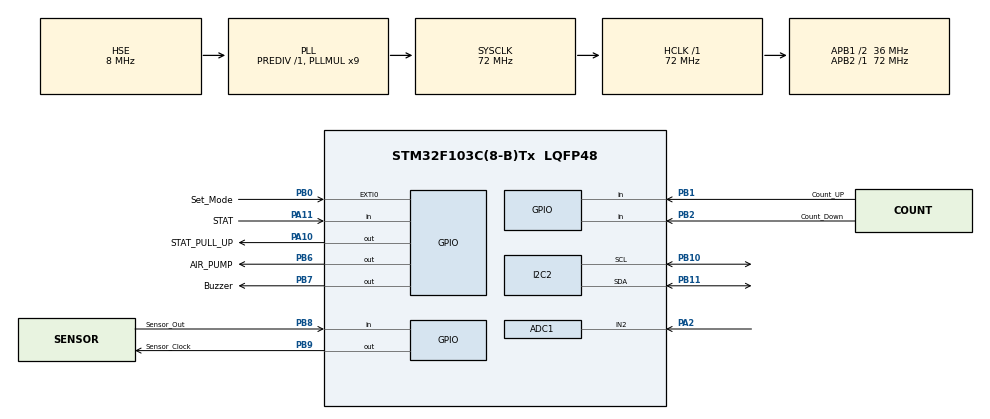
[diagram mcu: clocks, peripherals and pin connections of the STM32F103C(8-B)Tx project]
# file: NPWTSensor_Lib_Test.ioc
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ADC1.Channel-6\#ChannelRegularConversion=ADC_CHANNEL_2
ADC1.NbrOfConversionFlag=1
ADC1.Rank-6\#ChannelRegularConversion=1
ADC1.SamplingTime-6\#ChannelRegularConversion=ADC_SAMPLETIME_1CYCLE_5
ADC1.master=1
FREERTOS.BinarySemaphores01=I2CSemaphore,Dynamic,NULL
FREERTOS.Events01=Mode_Button_Event,Dynamic,NULL
FREERTOS.Queues01=DisplayQueue,1,uint32_t,0,Dynamic,NULL,NULL;mmhgQueue,1,uint32_t,0,Dynamic,NULL,NULL
FREERTOS.Tasks01=mmhgHandler,24,512,mmhgHandlerTask,Default,NULL,Dynamic,NULL,NULL;Display,25,256,DisplayTask,Default,NULL,Dynamic,NULL,NULL;ButtonHandler,24,256,ButtonsHandlerTask,Default,NULL,Dynamic,NULL,NULL;BMSHandler,24,512,BMSHandlerTask,Default,NULL,Dynamic,NULL,NULL
FREERTOS.configTOTAL_HEAP_SIZE=10000
Mcu.Family=STM32F1
Mcu.Name=STM32F103C(8-B)Tx
Mcu.Package=LQFP48
NVIC.EXTI0_IRQn=true\:5\:0\:false\:false\:true\:true\:true\:true\:true
NVIC.PriorityGroup=NVIC_PRIORITYGROUP_4
NVIC.TIM1_UP_IRQn=true\:15\:0\:false\:false\:true\:false\:false\:true\:true
NVIC.TimeBase=TIM1_UP_IRQn
NVIC.TimeBaseIP=TIM1
PA10.GPIO_Label=STAT_PULL_UP
PA10.Signal=GPIO_Output
PA11.GPIO_Label=STAT
PA11.Signal=GPIO_Input
PA13.Mode=Serial_Wire
PA13.Signal=SYS_JTMS-SWDIO
PA14.Mode=Serial_Wire
PA14.Signal=SYS_JTCK-SWCLK
PA2.Signal=ADCx_IN2
PB0.GPIO_Label=Set_Mode
PB0.Signal=GPXTI0
PB1.GPIO_Label=Count_UP
PB1.Signal=GPIO_Input
PB10.Mode=I2C
PB10.Signal=I2C2_SCL
PB11.Mode=I2C
PB11.Signal=I2C2_SDA
PB2.GPIO_Label=Count_Down
PB2.Signal=GPIO_Input
PB6.GPIO_Label=AIR_PUMP
PB6.Signal=GPIO_Output
PB7.GPIO_Label=Buzzer
PB7.Signal=GPIO_Output
PB8.GPIO_Label=Sensor_Out
PB8.Signal=GPIO_Input
PB9.GPIO_Label=Sensor_Clock
PB9.Signal=GPIO_Output
PD0-OSC_IN.Mode=HSE-External-Oscillator
PD0-OSC_IN.Signal=RCC_OSC_IN
PD1-OSC_OUT.Mode=HSE-External-Oscillator
PD1-OSC_OUT.Signal=RCC_OSC_OUT
ProjectManager.HeapSize=0x200
ProjectManager.StackSize=0x400
ProjectManager.TargetToolchain=MDK-ARM V5.32
RCC.ADCPresc=RCC_ADCPCLK2_DIV6
RCC.AHBFreq_Value=72000000
RCC.APB1CLKDivider=RCC_HCLK_DIV2
RCC.APB1Freq_Value=36000000
RCC.APB1TimFreq_Value=72000000
RCC.APB2Freq_Value=72000000
RCC.APB2TimFreq_Value=72000000
RCC.HCLKFreq_Value=72000000
RCC.PLLMUL=RCC_PLL_MUL9
RCC.PLLSourceVirtual=RCC_PLLSOURCE_HSE
RCC.SYSCLKFreq_VALUE=72000000
RCC.SYSCLKSource=RCC_SYSCLKSOURCE_PLLCLK
RCC.USBFreq_Value=72000000
SH.ADCx_IN2.0=ADC1_IN2,IN2
VP_FREERTOS_VS_CMSIS_V2.Mode=CMSIS_V2
VP_SYS_VS_tim1.Mode=TIM1
board=custom

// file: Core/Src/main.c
/* USER CODE BEGIN Header */
/**
  ******************************************************************************
  * @file           : main.c
  * @brief          : Main program body
  ******************************************************************************
  * @attention
  *
  * Copyright (c) 2023 STMicroelectronics.
  * All rights reserved.
  *
  * This software is licensed under terms that can be found in the LICENSE file
  * in the root directory of this software component.
  * If no LICENSE file comes with this software, it is provided AS-IS.
  *
  ******************************************************************************
  */
/* USER CODE END Header */
#include "main.h"
#include "cmsis_os.h"

/* USER CODE BEGIN Includes */

#include "bq2057csn.h"
#include "ina226.h"
#include "baterrymanagment.h"
#include "display.h"
#include "npwt_config.h"
#include "HX710B.h"

/* USER CODE END Includes */

ADC_HandleTypeDef hadc1;

I2C_HandleTypeDef hi2c2;

/* Definitions for mmhgHandler */
osThreadId_t mmhgHandlerHandle;
const osThreadAttr_t mmhgHandler_attributes = {
  .name = "mmhgHandler",
  .stack_size = 512 * 4,
  .priority = (osPriority_t) osPriorityNormal,
};
/* Definitions for Display */
osThreadId_t DisplayHandle;
const osThreadAttr_t Display_attributes = {
  .name = "Display",
  .stack_size = 256 * 4,
  .priority = (osPriority_t) osPriorityNormal1,
};
/* Definitions for ButtonHandler */
osThreadId_t ButtonHandlerHandle;
const osThreadAttr_t ButtonHandler_attributes = {
  .name = "ButtonHandler",
  .stack_size = 256 * 4,
  .priority = (osPriority_t) osPriorityNormal,
};
/* Definitions for BMSHandler */
osThreadId_t BMSHandlerHandle;
const osThreadAttr_t BMSHandler_attributes = {
  .name = "BMSHandler",
  .stack_size = 512 * 4,
  .priority = (osPriority_t) osPriorityNormal,
};
/* Definitions for DisplayQueue */
osMessageQueueId_t DisplayQueueHandle;
const osMessageQueueAttr_t DisplayQueue_attributes = {
  .name = "DisplayQueue"
};
/* Definitions for mmhgQueue */
osMessageQueueId_t mmhgQueueHandle;
const osMessageQueueAttr_t mmhgQueue_attributes = {
  .name = "mmhgQueue"
};
/* Definitions for I2CSemaphore */
osSemaphoreId_t I2CSemaphoreHandle;
const osSemaphoreAttr_t I2CSemaphore_attributes = {
  .name = "I2CSemaphore"
};
/* Definitions for Mode_Button_Event */
osEventFlagsId_t Mode_Button_EventHandle;
const osEventFlagsAttr_t Mode_Button_Event_attributes = {
  .name = "Mode_Button_Event"
};

void SystemClock_Config(void);
static void MX_GPIO_Init(void);
static void MX_ADC1_Init(void);
static void MX_I2C2_Init(void);
void mmhgHandlerTask(void *argument);
void DisplayTask(void *argument);
void ButtonsHandlerTask(void *argument);
void BMSHandlerTask(void *argument);

/* USER CODE BEGIN 0 */

battery_managment_t battery_managment ;
HX710B_config_t hx710b_config;

/* USER CODE END 0 */

int main(void)
{

  /* MCU Configuration--------------------------------------------------------*/

  /* Reset of all peripherals, Initializes the Flash interface and the Systick. */
  HAL_Init();

  /* Configure the system clock */
  SystemClock_Config();

  /* Initialize all configured peripherals */
  MX_GPIO_Init();
  MX_ADC1_Init();
  MX_I2C2_Init();
  /* USER CODE BEGIN 2 */

	__HAL_RCC_PWR_CLK_ENABLE();
	HAL_PWR_EnableWakeUpPin(Set_Mode_Pin);

	battery_managment.ina_config = (struct INA226_Configuration_Struct*)malloc(sizeof(*battery_managment.ina_config));
  battery_managment.bq2057csn_condition =(bq2057csn_config_t*) malloc(sizeof(*battery_managment.bq2057csn_condition));

	battery_managment.bq2057csn_condition->pullup_pin_port=STAT_PULL_UP_GPIO_Port;
	battery_managment.bq2057csn_condition->pullup_pin=STAT_PULL_UP_Pin;
	battery_managment.bq2057csn_condition->stat_pin_port=STAT_GPIO_Port;
	battery_managment.bq2057csn_condition->stat_pin=STAT_Pin;

	battery_managment.ina_config->I2C_Channel=hi2c2;
	battery_managment.ina_config->Slave_Addrs=0x40;
	battery_managment.ina_config->Mode=Mode_Bus_And_Shunt_Cont;
	battery_managment.ina_config->Vbus_Conv_Time=Conv_Vbus_1_1ms;
	battery_managment.ina_config->Vshunt_Conv_Time=Conv_Shunt_1_1ms;
	battery_managment.ina_config->Avarage_Num=Set_Avg_512;
	battery_managment.ina_config->Shunt_Resistor_Val=0.01;
	battery_managment.ina_config->Current_LSB=0.000045;

  /* USER CODE END 2 */

  /* Init scheduler */
  osKernelInitialize();

  /* Create the semaphores(s) */
  /* creation of I2CSemaphore */
  I2CSemaphoreHandle = osSemaphoreNew(1, 1, &I2CSemaphore_attributes);

  /* Create the queue(s) */
  /* creation of DisplayQueue */
  DisplayQueueHandle = osMessageQueueNew (1, sizeof(uint32_t), &DisplayQueue_attributes);

  /* creation of mmhgQueue */
  mmhgQueueHandle = osMessageQueueNew (1, sizeof(uint32_t), &mmhgQueue_attributes);

  /* Create the thread(s) */
  /* creation of mmhgHandler */
  mmhgHandlerHandle = osThreadNew(mmhgHandlerTask, NULL, &mmhgHandler_attributes);

  /* creation of Display */
  DisplayHandle = osThreadNew(DisplayTask, NULL, &Display_attributes);

  /* creation of ButtonHandler */
  ButtonHandlerHandle = osThreadNew(ButtonsHandlerTask, NULL, &ButtonHandler_attributes);

  /* creation of BMSHandler */
  BMSHandlerHandle = osThreadNew(BMSHandlerTask, NULL, &BMSHandler_attributes);

  /* Create the event(s) */
  /* creation of Mode_Button_Event */
  Mode_Button_EventHandle = osEventFlagsNew(&Mode_Button_Event_attributes);

  /* Start scheduler */
  osKernelStart();
  /* We should never get here as control is now taken by the scheduler */
  /* Infinite loop */
  /* USER CODE BEGIN WHILE */
  while (1)
  {
		/*  read_data=HX710B_Read_Sensor(&HX710B_config);
		  HAL_Delay(1000);
	    */

    /* USER CODE END WHILE */

  }
}

void SystemClock_Config(void)
{
  RCC_OscInitTypeDef RCC_OscInitStruct = {0};
  RCC_ClkInitTypeDef RCC_ClkInitStruct = {0};
  RCC_PeriphCLKInitTypeDef PeriphClkInit = {0};

  /** Initializes the RCC Oscillators according to the specified parameters
  * in the RCC_OscInitTypeDef structure.
  */
  RCC_OscInitStruct.OscillatorType = RCC_OSCILLATORTYPE_HSE;
  RCC_OscInitStruct.HSEState = RCC_HSE_ON;
  RCC_OscInitStruct.HSEPredivValue = RCC_HSE_PREDIV_DIV1;
  RCC_OscInitStruct.HSIState = RCC_HSI_ON;
  RCC_OscInitStruct.PLL.PLLState = RCC_PLL_ON;
  RCC_OscInitStruct.PLL.PLLSource = RCC_PLLSOURCE_HSE;
  RCC_OscInitStruct.PLL.PLLMUL = RCC_PLL_MUL9;
  if (HAL_RCC_OscConfig(&RCC_OscInitStruct) != HAL_OK)
  {
    Error_Handler();
  }

  /** Initializes the CPU, AHB and APB buses clocks
  */
  RCC_ClkInitStruct.ClockType = RCC_CLOCKTYPE_HCLK|RCC_CLOCKTYPE_SYSCLK
                              |RCC_CLOCKTYPE_PCLK1|RCC_CLOCKTYPE_PCLK2;
  RCC_ClkInitStruct.SYSCLKSource = RCC_SYSCLKSOURCE_PLLCLK;
  RCC_ClkInitStruct.AHBCLKDivider = RCC_SYSCLK_DIV1;
  RCC_ClkInitStruct.APB1CLKDivider = RCC_HCLK_DIV2;
  RCC_ClkInitStruct.APB2CLKDivider = RCC_HCLK_DIV1;

  if (HAL_RCC_ClockConfig(&RCC_ClkInitStruct, FLASH_LATENCY_2) != HAL_OK)
  {
    Error_Handler();
  }
  PeriphClkInit.PeriphClockSelection = RCC_PERIPHCLK_ADC;
  PeriphClkInit.AdcClockSelection = RCC_ADCPCLK2_DIV6;
  if (HAL_RCCEx_PeriphCLKConfig(&PeriphClkInit) != HAL_OK)
  {
    Error_Handler();
  }
}

static void MX_ADC1_Init(void)
{

  ADC_ChannelConfTypeDef sConfig = {0};

  /** Common config
  */
  hadc1.Instance = ADC1;
  hadc1.Init.ScanConvMode = ADC_SCAN_DISABLE;
  hadc1.Init.ContinuousConvMode = DISABLE;
  hadc1.Init.DiscontinuousConvMode = DISABLE;
  hadc1.Init.ExternalTrigConv = ADC_SOFTWARE_START;
  hadc1.Init.DataAlign = ADC_DATAALIGN_RIGHT;
  hadc1.Init.NbrOfConversion = 1;
  if (HAL_ADC_Init(&hadc1) != HAL_OK)
  {
    Error_Handler();
  }

  /** Configure Regular Channel
  */
  sConfig.Channel = ADC_CHANNEL_2;
  sConfig.Rank = ADC_REGULAR_RANK_1;
  sConfig.SamplingTime = ADC_SAMPLETIME_1CYCLE_5;
  if (HAL_ADC_ConfigChannel(&hadc1, &sConfig) != HAL_OK)
  {
    Error_Handler();
  }

}

static void MX_I2C2_Init(void)
{

  hi2c2.Instance = I2C2;
  hi2c2.Init.ClockSpeed = 100000;
  hi2c2.Init.DutyCycle = I2C_DUTYCYCLE_2;
  hi2c2.Init.OwnAddress1 = 0;
  hi2c2.Init.AddressingMode = I2C_ADDRESSINGMODE_7BIT;
  hi2c2.Init.DualAddressMode = I2C_DUALADDRESS_DISABLE;
  hi2c2.Init.OwnAddress2 = 0;
  hi2c2.Init.GeneralCallMode = I2C_GENERALCALL_DISABLE;
  hi2c2.Init.NoStretchMode = I2C_NOSTRETCH_DISABLE;
  if (HAL_I2C_Init(&hi2c2) != HAL_OK)
  {
    Error_Handler();
  }

}

static void MX_GPIO_Init(void)
{
  GPIO_InitTypeDef GPIO_InitStruct = {0};

  /* GPIO Ports Clock Enable */
  __HAL_RCC_GPIOD_CLK_ENABLE();
  __HAL_RCC_GPIOA_CLK_ENABLE();
  __HAL_RCC_GPIOB_CLK_ENABLE();

  /*Configure GPIO pin Output Level */
  HAL_GPIO_WritePin(STAT_PULL_UP_GPIO_Port, STAT_PULL_UP_Pin, GPIO_PIN_RESET);

  /*Configure GPIO pin Output Level */
  HAL_GPIO_WritePin(GPIOB, AIR_PUMP_Pin|Buzzer_Pin|Sensor_Clock_Pin, GPIO_PIN_RESET);

  /*Configure GPIO pin : Set_Mode_Pin */
  GPIO_InitStruct.Pin = Set_Mode_Pin;
  GPIO_InitStruct.Mode = GPIO_MODE_IT_RISING;
  GPIO_InitStruct.Pull = GPIO_NOPULL;
  HAL_GPIO_Init(Set_Mode_GPIO_Port, &GPIO_InitStruct);

  /*Configure GPIO pins : Count_UP_Pin Count_Down_Pin Sensor_Out_Pin */
  GPIO_InitStruct.Pin = Count_UP_Pin|Count_Down_Pin|Sensor_Out_Pin;
  GPIO_InitStruct.Mode = GPIO_MODE_INPUT;
  GPIO_InitStruct.Pull = GPIO_NOPULL;
  HAL_GPIO_Init(GPIOB, &GPIO_InitStruct);

  /*Configure GPIO pin : STAT_PULL_UP_Pin */
  GPIO_InitStruct.Pin = STAT_PULL_UP_Pin;
  GPIO_InitStruct.Mode = GPIO_MODE_OUTPUT_PP;
  GPIO_InitStruct.Pull = GPIO_NOPULL;
  GPIO_InitStruct.Speed = GPIO_SPEED_FREQ_LOW;
  HAL_GPIO_Init(STAT_PULL_UP_GPIO_Port, &GPIO_InitStruct);

  /*Configure GPIO pin : STAT_Pin */
  GPIO_InitStruct.Pin = STAT_Pin;
  GPIO_InitStruct.Mode = GPIO_MODE_INPUT;
  GPIO_InitStruct.Pull = GPIO_NOPULL;
  HAL_GPIO_Init(STAT_GPIO_Port, &GPIO_InitStruct);

  /*Configure GPIO pins : AIR_PUMP_Pin Buzzer_Pin Sensor_Clock_Pin */
  GPIO_InitStruct.Pin = AIR_PUMP_Pin|Buzzer_Pin|Sensor_Clock_Pin;
  GPIO_InitStruct.Mode = GPIO_MODE_OUTPUT_PP;
  GPIO_InitStruct.Pull = GPIO_NOPULL;
  GPIO_InitStruct.Speed = GPIO_SPEED_FREQ_LOW;
  HAL_GPIO_Init(GPIOB, &GPIO_InitStruct);

  /* EXTI interrupt init*/
  HAL_NVIC_SetPriority(EXTI0_IRQn, 5, 0);
  HAL_NVIC_EnableIRQ(EXTI0_IRQn);

}

/* USER CODE BEGIN 4 */

void HAL_GPIO_EXTI_Callback(uint16_t GPIO_Pin) {

	osThreadFlagsSet(ButtonHandlerHandle,MODE_BUTTON_PRESSED_FLAG);
	///////////////////////////////////////////
	SysTick->CTRL |= SysTick_CTRL_TICKINT_Msk;

}
/* USER CODE END 4 */

float temp;
void mmhgHandlerTask(void *argument)
{
  /* USER CODE BEGIN 5 */
  /* Infinite loop */
	/*
	uint32_t temp_var = 200;
	HAL_ADCEx_Calibration_Start(&hadc1);
	uint8_t sumcount=0;
	uint32_t adc_sum;
	*/
  for(;;)
  {

  /*
  	HAL_ADC_Start(&hadc1);
		HAL_ADC_PollForConversion(&hadc1, 100);
		sumcount++;
		adc_sum+=HAL_ADC_GetValue(&hadc1);
		if(sumcount>10) {
		adc_sum/=sumcount;
		temp = (3.3 *adc_sum) / 4096.0  ;
		adc_sum=0;
		sumcount=0;
		}

		*/

  }
  /* USER CODE END 5 */
}

void DisplayTask(void *argument)
{
  /* USER CODE BEGIN DisplayTask */
  /* Infinite loop */
	display_init();
	osDelay(1000);
	uint32_t recievedata=0;

  for(;;)
  {

		/*
		osDelay(1000);
		set_preasure((uint32_t)(temp*1000));*/

   if(osMessageQueueGet (DisplayQueueHandle, (void*) &recievedata, NULL, osWaitForever) == osOK) {
		 osSemaphoreAcquire(I2CSemaphoreHandle,osWaitForever);
		 // Checking address of threads to identify who send it

		 if(recievedata & MASK_FROM_BUTTON_TASK ) {

			 if(recievedata & MASK_FOR_SYSTEM_ON){
					set_preasure(recievedata & MASK_FOR_CLEARING_COMUNICATION_FLAGS);
					display_mode((display_mode_t)3);
			 }else{
					set_preasure(recievedata & MASK_FOR_CLEARING_COMUNICATION_FLAGS);
					display_mode((display_mode_t)2);

			 }

		 } else if ( recievedata & MASK_FROM_SYSTEM_TASK ) {
			 set_preasure(recievedata & MASK_FOR_CLEARING_COMUNICATION_FLAGS);
		 } else{

			 if(recievedata & MASK_FOR_CHARGING_ON){
					set_bms_soc(0,(charging_status_t)0);
				}else{
					set_bms_soc((uint8_t)recievedata,(charging_status_t)1);
				}

		 }
		  osSemaphoreRelease(I2CSemaphoreHandle);

		}

	 /*
	 last measure i had 142 byte free space;
	 stackspace=osThreadGetStackSpace(DisplayHandle);
	 osDelay(1); */

  }
  /* USER CODE END DisplayTask */
}

/* USER CODE BEGIN Header_ButtonsHandlerTask */
/**
* @brief Function implementing the ButtonHandler thread.
* @param argument: Not used
* @retval None

*/

uint32_t stackspace;
/* USER CODE END Header_ButtonsHandlerTask */
void ButtonsHandlerTask(void *argument)
{
  /* USER CODE BEGIN ButtonsHandlerTask */
  /* Infinite loop */

	uint32_t Set_Value=INITIAL_MMHG_SET_VALUE ;
	uint32_t Prev_Set_Value=INITIAL_MMHG_SET_VALUE ;
	Set_Value= (Set_Value & MASK_FOR_SYSTEM_OFF) | MASK_FROM_BUTTON_TASK ;
	uint8_t npwt_device_state=NPWT_SYSTEM_OFF;
	GPIO_PinState Count_Up_Pin_State;
	GPIO_PinState Count_Down_Pin_State;
	uint8_t speed_up_value=1;
	uint8_t continue_pressed_counter=1;

	osMessageQueuePut(DisplayQueueHandle,&Set_Value,1,osWaitForever);

  for(;;)
  {

  osDelay(1000);

	if(npwt_device_state == NPWT_SYSTEM_ON) {
		osThreadFlagsWait(MODE_BUTTON_PRESSED_FLAG,osFlagsWaitAny,osWaitForever);
		npwt_device_state=NPWT_SYSTEM_OFF;
		Set_Value = (Set_Value & MASK_FOR_SYSTEM_OFF) | MASK_FROM_BUTTON_TASK ;
		osMessageQueuePut(DisplayQueueHandle,&Set_Value,1,osWaitForever);
	} else{

		if(osThreadFlagsGet()==MODE_BUTTON_PRESSED_FLAG) {
			osThreadFlagsClear(MODE_BUTTON_PRESSED_FLAG);
			npwt_device_state=NPWT_SYSTEM_ON;
			// here should sent the set value to system handler task

			Set_Value |= MASK_FOR_SYSTEM_ON | MASK_FROM_BUTTON_TASK ;
			osMessageQueuePut(DisplayQueueHandle,&Set_Value,1,osWaitForever);
		} else{

			Count_Down_Pin_State=HAL_GPIO_ReadPin(Count_Down_GPIO_Port,Count_Down_Pin);
			Count_Up_Pin_State=HAL_GPIO_ReadPin(Count_UP_GPIO_Port,Count_UP_Pin);

	    if(Count_Down_Pin_State == GPIO_PIN_RESET ) Set_Value -=speed_up_value;
			if(Count_Up_Pin_State == GPIO_PIN_RESET ) Set_Value +=speed_up_value;
		  osDelay(20);

			if((Count_Down_Pin_State == GPIO_PIN_RESET ) || (Count_Up_Pin_State == GPIO_PIN_RESET )) {
				continue_pressed_counter++;
				if(continue_pressed_counter>5) speed_up_value = 5;
			} else{
				continue_pressed_counter=0;
				speed_up_value=1;
			}

			if((Set_Value & MASK_FOR_CLEARING_COMUNICATION_FLAGS) < SYSTEM_PREASURE_MIN_VALUE )  Set_Value =SYSTEM_PREASURE_MIN_VALUE;
			if((Set_Value & MASK_FOR_CLEARING_COMUNICATION_FLAGS) > SYSTEM_PREASURE_MAX_VALUE )  Set_Value =SYSTEM_PREASURE_MAX_VALUE;

			Set_Value = (Set_Value & MASK_FOR_SYSTEM_OFF) | MASK_FROM_BUTTON_TASK ;

			if(Set_Value !=Prev_Set_Value ){
			Prev_Set_Value=Set_Value;
	  	osMessageQueuePut(DisplayQueueHandle,&Set_Value,1,osWaitForever);
			}
			}
	}

		stackspace=osThreadGetStackSpace(ButtonHandlerHandle);
	 osDelay(1);

  }
  /* USER CODE END ButtonsHandlerTask */
}

void BMSHandlerTask(void *argument)
{
  /* USER CODE BEGIN BMSHandlerTask */

	bms_init_t bms_init_status;
	chargin_state_t temp_charging_state = battery_managment.charging_state;
	uint32_t Send_value = 0;

	osSemaphoreAcquire(I2CSemaphoreHandle,osWaitForever);
	bms_init_status=bat_managment_init(&battery_managment);
	osSemaphoreRelease(I2CSemaphoreHandle);

  /* Infinite loop */
  for(;;)
  {
		bms_set_operation_mode(&battery_managment,bms_operation_mode);
	  	display_mode(display_wake); */

		osDelay(1000);

	  if(bms_init_status !=bms_init_error){

		if(temp_charging_state != battery_managment.charging_state) {
			temp_charging_state = battery_managment.charging_state;

			switch((int)battery_managment.charging_state) {

				case  bms_charging:
					Send_value |=  MASK_FROM_BMS_TASK  | MASK_FOR_CHARGING_ON;
				break;

				case bms_charging_complete :
					Send_value |=  MASK_FROM_BMS_TASK  | MASK_FOR_CHARGING_ON;

				break;

				case bms_charging_removed :
					Send_value = (Send_value & MASK_FOR_CHARGING_OFF) | MASK_FROM_BMS_TASK;

				break;

			}
			Send_value |= battery_managment.current_soc;
			osMessageQueuePut(DisplayQueueHandle,&Send_value,1,osWaitForever);
		}

		osSemaphoreAcquire(I2CSemaphoreHandle,osWaitForever);
		bat_managment_processloop(&battery_managment);
		osSemaphoreRelease(I2CSemaphoreHandle);

	//	osDelay(3000);
	//	bms_set_operation_mode(&battery_managment,bms_sleep_mode);
	//	display_mode(display_sleep);

		// turn off freertos scheduler with turning of systic interrupt
	//	SysTick->CTRL &= ~SysTick_CTRL_TICKINT_Msk;
 //   HAL_PWR_EnterSTOPMode(PWR_LOWPOWERREGULATOR_ON, PWR_STOPENTRY_WFI);

    if(battery_managment.op_voltage == below_operational_voltage ) {

			// goes system into slee mode.

		}

	}

  }
  /* USER CODE END BMSHandlerTask */
}

void HAL_TIM_PeriodElapsedCallback(TIM_HandleTypeDef *htim)
{
  if (htim->Instance == TIM1) {
    HAL_IncTick();
  }
}

void Error_Handler(void)
{
  __disable_irq();
  while (1)
  {
  }
}
